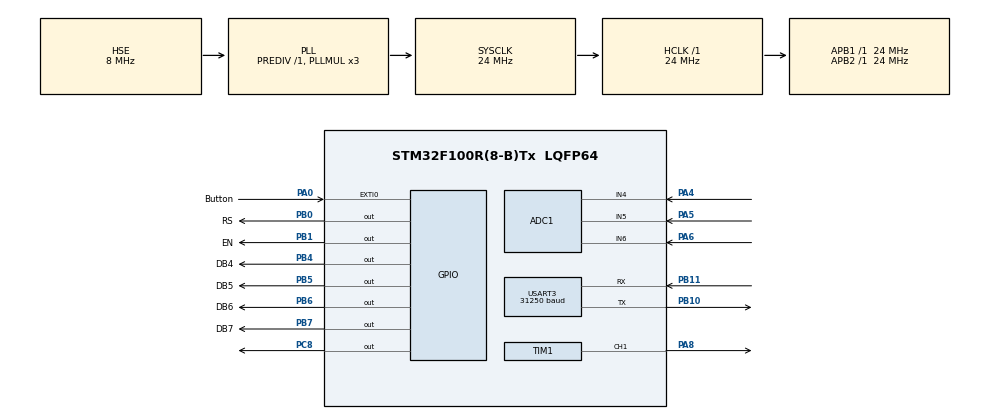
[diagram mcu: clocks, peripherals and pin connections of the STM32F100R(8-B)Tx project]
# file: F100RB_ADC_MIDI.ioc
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ADC1.Channel-0\#ChannelRegularConversion=ADC_CHANNEL_4
ADC1.Channel-1\#ChannelRegularConversion=ADC_CHANNEL_5
ADC1.Channel-2\#ChannelRegularConversion=ADC_CHANNEL_6
ADC1.ContinuousConvMode=ENABLE
ADC1.DataAlign=ADC_DATAALIGN_RIGHT
ADC1.DiscontinuousConvMode=DISABLE
ADC1.EnableAnalogWatchDog=false
ADC1.EnableRegularConversion=ENABLE
ADC1.ExternalTrigConv=ADC_EXTERNALTRIGCONV_T3_TRGO
ADC1.InjNumberOfConversion=0
ADC1.NbrOfConversion=3
ADC1.NbrOfConversionFlag=1
ADC1.Rank-0\#ChannelRegularConversion=1
ADC1.Rank-1\#ChannelRegularConversion=2
ADC1.Rank-2\#ChannelRegularConversion=3
ADC1.SamplingTime-0\#ChannelRegularConversion=ADC_SAMPLETIME_1CYCLE_5
ADC1.SamplingTime-1\#ChannelRegularConversion=ADC_SAMPLETIME_1CYCLE_5
ADC1.SamplingTime-2\#ChannelRegularConversion=ADC_SAMPLETIME_1CYCLE_5
ADC1.ScanConvMode=ADC_SCAN_ENABLE
ADC1.master=1
Dma.ADC1.0.Direction=DMA_PERIPH_TO_MEMORY
Dma.ADC1.0.Instance=DMA1_Channel1
Dma.ADC1.0.MemDataAlignment=DMA_MDATAALIGN_HALFWORD
Dma.ADC1.0.MemInc=DMA_MINC_ENABLE
Dma.ADC1.0.Mode=DMA_CIRCULAR
Dma.ADC1.0.PeriphDataAlignment=DMA_PDATAALIGN_HALFWORD
Dma.ADC1.0.PeriphInc=DMA_PINC_DISABLE
Dma.ADC1.0.Priority=DMA_PRIORITY_MEDIUM
Dma.Request0=ADC1
Dma.Request1=USART3_RX
Dma.USART3_RX.1.Direction=DMA_PERIPH_TO_MEMORY
Dma.USART3_RX.1.Instance=DMA1_Channel3
Dma.USART3_RX.1.MemDataAlignment=DMA_MDATAALIGN_BYTE
Dma.USART3_RX.1.MemInc=DMA_MINC_ENABLE
Dma.USART3_RX.1.Mode=DMA_CIRCULAR
Dma.USART3_RX.1.PeriphDataAlignment=DMA_PDATAALIGN_BYTE
Dma.USART3_RX.1.PeriphInc=DMA_PINC_DISABLE
Dma.USART3_RX.1.Priority=DMA_PRIORITY_MEDIUM
Mcu.Family=STM32F1
Mcu.Name=STM32F100R(8-B)Tx
Mcu.Package=LQFP64
NVIC.DMA1_Channel1_IRQn=true\:0\:0\:false\:false\:true\:false
NVIC.DMA1_Channel3_IRQn=true\:0\:0\:false\:false\:true\:false
NVIC.EXTI0_IRQn=true\:0\:0\:false\:false\:true\:true
NVIC.PriorityGroup=NVIC_PRIORITYGROUP_4
NVIC.TIM3_IRQn=true\:0\:0\:true\:false\:true\:true
NVIC.USART3_IRQn=true\:0\:0\:false\:false\:true\:true
PA0-WKUP.GPIO_Label=Button
PA0-WKUP.GPIO_ModeDefaultEXTI=GPIO_MODE_IT_RISING
PA0-WKUP.GPIO_PuPd=GPIO_PULLDOWN
PA0-WKUP.Signal=GPXTI0
PA13.Mode=Serial_Wire
PA13.Signal=SYS_JTMS-SWDIO
PA14.Mode=Serial_Wire
PA14.Signal=SYS_JTCK-SWCLK
PA4.Signal=ADCx_IN4
PA5.Signal=ADCx_IN5
PA6.Signal=ADCx_IN6
PA8.Signal=S_TIM1_CH1
PB0.GPIO_Label=RS
PB0.Signal=GPIO_Output
PB1.GPIO_Label=EN
PB1.Signal=GPIO_Output
PB10.Mode=Asynchronous
PB10.Signal=USART3_TX
PB11.Mode=Asynchronous
PB11.Signal=USART3_RX
PB4.GPIO_Label=DB4
PB4.Signal=GPIO_Output
PB5.GPIO_Label=DB5
PB5.Signal=GPIO_Output
PB6.GPIO_Label=DB6
PB6.Signal=GPIO_Output
PB7.GPIO_Label=DB7
PB7.Signal=GPIO_Output
PC8.Signal=GPIO_Output
PD0-OSC_IN.Mode=HSE-External-Oscillator
PD0-OSC_IN.Signal=RCC_OSC_IN
PD1-OSC_OUT.Mode=HSE-External-Oscillator
PD1-OSC_OUT.Signal=RCC_OSC_OUT
ProjectManager.HeapSize=0x200
ProjectManager.StackSize=0x400
ProjectManager.TargetToolchain=MDK-ARM V5
RCC.AHBFreq_Value=24000000
RCC.APB1Freq_Value=24000000
RCC.APB1TimFreq_Value=24000000
RCC.APB2Freq_Value=24000000
RCC.APB2TimFreq_Value=24000000
RCC.HCLKFreq_Value=24000000
RCC.PLLMUL=RCC_PLL_MUL3
RCC.PLLSource=RCC_PLLSOURCE_HSE
RCC.SYSCLKFreq_VALUE=24000000
RCC.SYSCLKSource=RCC_SYSCLKSOURCE_PLLCLK
SH.ADCx_IN4.0=ADC1_IN4,IN4
SH.ADCx_IN5.0=ADC1_IN5,IN5
SH.ADCx_IN6.0=ADC1_IN6,IN6
SH.S_TIM1_CH1.0=TIM1_CH1,PWM Generation1 CH1
TIM1.Channel-PWM\ Generation1\ CH1=TIM_CHANNEL_1
TIM1.Period=65535
TIM3.Period=50
TIM3.Prescaler=23999
TIM3.TIM_MasterOutputTrigger=TIM_TRGO_UPDATE
USART3.BaudRate=31250
USART3.Mode=MODE_TX_RX
USART3.VirtualMode=VM_ASYNC
VP_TIM1_VS_ClockSourceINT.Mode=Internal
VP_TIM3_VS_ClockSourceINT.Mode=Internal
board=F100RB_ADC_v4.0

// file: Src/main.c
/**
  ******************************************************************************
  * @file           : main.c
  * @brief          : Main program body
  ******************************************************************************
  ** This notice applies to any and all portions of this file
  * that are not between comment pairs USER CODE BEGIN and
  * USER CODE END. Other portions of this file, whether
  * inserted by the user or by software development tools
  * are owned by their respective copyright owners.
  *
  * COPYRIGHT(c) 2018 STMicroelectronics
  *
  * Redistribution and use in source and binary forms, with or without modification,
  * are permitted provided that the following conditions are met:
  *   1. Redistributions of source code must retain the above copyright notice,
  *      this list of conditions and the following disclaimer.
  *   2. Redistributions in binary form must reproduce the above copyright notice,
  *      this list of conditions and the following disclaimer in the documentation
  *      and/or other materials provided with the distribution.
  *   3. Neither the name of STMicroelectronics nor the names of its contributors
  *      may be used to endorse or promote products derived from this software
  *      without specific prior written permission.
  *
  * THIS SOFTWARE IS PROVIDED BY THE COPYRIGHT HOLDERS AND CONTRIBUTORS "AS IS"
  * AND ANY EXPRESS OR IMPLIED WARRANTIES, INCLUDING, BUT NOT LIMITED TO, THE
  * IMPLIED WARRANTIES OF MERCHANTABILITY AND FITNESS FOR A PARTICULAR PURPOSE ARE
  * DISCLAIMED. IN NO EVENT SHALL THE COPYRIGHT HOLDER OR CONTRIBUTORS BE LIABLE
  * FOR ANY DIRECT, INDIRECT, INCIDENTAL, SPECIAL, EXEMPLARY, OR CONSEQUENTIAL
  * DAMAGES (INCLUDING, BUT NOT LIMITED TO, PROCUREMENT OF SUBSTITUTE GOODS OR
  * SERVICES; LOSS OF USE, DATA, OR PROFITS; OR BUSINESS INTERRUPTION) HOWEVER
  * CAUSED AND ON ANY THEORY OF LIABILITY, WHETHER IN CONTRACT, STRICT LIABILITY,
  * OR TORT (INCLUDING NEGLIGENCE OR OTHERWISE) ARISING IN ANY WAY OUT OF THE USE
  * OF THIS SOFTWARE, EVEN IF ADVISED OF THE POSSIBILITY OF SUCH DAMAGE.
  *
  ******************************************************************************
  */
#include "main.h"
#include "stm32f1xx_hal.h"

/* USER CODE BEGIN Includes */
#include "lcd.h"
#include "stdbool.h"
#include "stdio.h"
#include "string.h"
/* USER CODE END Includes */

ADC_HandleTypeDef hadc1;
DMA_HandleTypeDef hdma_adc1;

TIM_HandleTypeDef htim1;
TIM_HandleTypeDef htim3;

UART_HandleTypeDef huart3;
DMA_HandleTypeDef hdma_usart3_rx;

/* USER CODE BEGIN PV */
/* Private variables ---------------------------------------------------------*/
const static uint32_t note_frequency[] = {45865, 43290, 40590, 38570, 36403, 34360,
																					32432, 30612, 28902, 27273, 25742, 24295, 22932,
																					21647, 20294, 19285, 18203, 17180, 16216, 15306, 14493,
																					13636, 12871, 12148, 11467, 10823, 10216, 9642,
																					9101, 8590, 8108, 7653, 7224, 6818, 6436, 6074};
uint8_t x = 0;
char str[8] = {0};
static char midi[6] = {0};
static char prevStatusByte[1] = {0};
char note[1] = {0};
char velocity[1] = {0};
char noteon[1] = {0};
char noteoff[1] = {0};
char print[8] = {0};
bool b;
uint16_t ADC_Data[3];
uint16_t f;
uint8_t i;
uint16_t t_on;
uint16_t t_off;
uint16_t step_on = 0;
uint16_t step_off = 0;
/* USER CODE END PV */

void SystemClock_Config(void);
static void MX_GPIO_Init(void);
static void MX_DMA_Init(void);
static void MX_TIM1_Init(void);
static void MX_ADC1_Init(void);
static void MX_TIM3_Init(void);
static void MX_USART3_UART_Init(void);

void HAL_TIM_MspPostInit(TIM_HandleTypeDef *htim);

/* USER CODE BEGIN PFP */
/* Private function prototypes -----------------------------------------------*/

/* USER CODE END PFP */

int main(void)
{

  /* MCU Configuration----------------------------------------------------------*/

  /* Reset of all peripherals, Initializes the Flash interface and the Systick. */
  HAL_Init();

  /* Configure the system clock */
  SystemClock_Config();

  /* Initialize all configured peripherals */
  MX_GPIO_Init();
  MX_DMA_Init();
  MX_TIM1_Init();
  MX_ADC1_Init();
  MX_TIM3_Init();
  MX_USART3_UART_Init();
  /* USER CODE BEGIN 2 */

	InitializeLCD();
	ClearLCDScreen();
	delay(32000);
	delay(32000);
	delay(32000);
	Cursor(0,3);
	PrintStr("Ready for work");
	Cursor(2,8);
	PrintStr("(c)POSPEL");

  /* USER CODE END 2 */

  /* Infinite loop */
	while(1)
	{

  /* USER CODE BEGIN 3 */
		if (b == true)
		{
			HAL_UART_Receive_DMA(&huart3, (uint8_t*) midi, 3);
			Cursor(0,3);
			PrintStr("Operating mode");
			Cursor(1,9);
			PrintStr("MIDI");
			static char newNote = 0x00;

			if((midi[0]&0xF0)==0x80 || (midi[0]&0xF0)==0x90)
			{
				sprintf(prevStatusByte,"%3d",midi[0]);
				Cursor(2,0);
				PrintMassiv(prevStatusByte);
				sprintf(note,"%3d",midi[1]);
				Cursor(2,3);
				PrintMassiv(note);
				sprintf(velocity,"%3d",midi[2]);
				Cursor(2,8);
				PrintMassiv(velocity);
			}
/********************************************************************************

0x9n --- Комманда - включить ноту

*********************************************************************************/
			if ((midi[0]&0xF0) == 144)
			{
				newNote = midi[1];
				myVelocity = midi[2];
				if (myVelocity == 0)
				{
					if (myNote == newNote)
					{
						myNote = 0xFF;
						//sprintf(noteon,"%3dms",myNote);
						//Cursor(1,0);
						//PrintMassiv(noteon);
						midiPlay();
					}
				}
				else
				{
					myNote = newNote;
					//sprintf(noteon,"%3d",myNote);
					//Cursor(1,3);
					//PrintMassiv(noteon);
					midiPlay();
				}
			}
/********************************************************************************

0x8n --- Комманда - выключить ноту

*********************************************************************************/
			if ((midi[0]&0xF0) == 128)
			{
				myNote = 0xFF;
				//sprintf(noteoff,"%3d",midi[1]);
				//Cursor(1,0);
				//PrintMassiv(noteoff);
				midiPlay();
			}
/********************************************************************************

0xFF --- Системное сообщени - сброс всех устройств

*********************************************************************************/
			if ((midi[0]&0xFF) == 0xFF)
			{
				myNote = 0xFF;
				midiPlay();
			}
		}
	}
  /* USER CODE END 3 */

}

void SystemClock_Config(void)
{

  RCC_OscInitTypeDef RCC_OscInitStruct;
  RCC_ClkInitTypeDef RCC_ClkInitStruct;
  RCC_PeriphCLKInitTypeDef PeriphClkInit;

    /**Initializes the CPU, AHB and APB busses clocks
    */
  RCC_OscInitStruct.OscillatorType = RCC_OSCILLATORTYPE_HSE;
  RCC_OscInitStruct.HSEState = RCC_HSE_ON;
  RCC_OscInitStruct.HSEPredivValue = RCC_HSE_PREDIV_DIV1;
  RCC_OscInitStruct.PLL.PLLState = RCC_PLL_ON;
  RCC_OscInitStruct.PLL.PLLSource = RCC_PLLSOURCE_HSE;
  RCC_OscInitStruct.PLL.PLLMUL = RCC_PLL_MUL3;
  if (HAL_RCC_OscConfig(&RCC_OscInitStruct) != HAL_OK)
  {
    _Error_Handler(__FILE__, __LINE__);
  }

    /**Initializes the CPU, AHB and APB busses clocks
    */
  RCC_ClkInitStruct.ClockType = RCC_CLOCKTYPE_HCLK|RCC_CLOCKTYPE_SYSCLK
                              |RCC_CLOCKTYPE_PCLK1|RCC_CLOCKTYPE_PCLK2;
  RCC_ClkInitStruct.SYSCLKSource = RCC_SYSCLKSOURCE_PLLCLK;
  RCC_ClkInitStruct.AHBCLKDivider = RCC_SYSCLK_DIV1;
  RCC_ClkInitStruct.APB1CLKDivider = RCC_HCLK_DIV1;
  RCC_ClkInitStruct.APB2CLKDivider = RCC_HCLK_DIV1;

  if (HAL_RCC_ClockConfig(&RCC_ClkInitStruct, FLASH_LATENCY_0) != HAL_OK)
  {
    _Error_Handler(__FILE__, __LINE__);
  }

  PeriphClkInit.PeriphClockSelection = RCC_PERIPHCLK_ADC;
  PeriphClkInit.AdcClockSelection = RCC_ADCPCLK2_DIV2;
  if (HAL_RCCEx_PeriphCLKConfig(&PeriphClkInit) != HAL_OK)
  {
    _Error_Handler(__FILE__, __LINE__);
  }

    /**Configure the Systick interrupt time
    */
  HAL_SYSTICK_Config(HAL_RCC_GetHCLKFreq()/1000);

    /**Configure the Systick
    */
  HAL_SYSTICK_CLKSourceConfig(SYSTICK_CLKSOURCE_HCLK);

  /* SysTick_IRQn interrupt configuration */
  HAL_NVIC_SetPriority(SysTick_IRQn, 0, 0);
}

/* ADC1 init function */
static void MX_ADC1_Init(void)
{

  ADC_ChannelConfTypeDef sConfig;

    /**Common config
    */
  hadc1.Instance = ADC1;
  hadc1.Init.ScanConvMode = ADC_SCAN_ENABLE;
  hadc1.Init.ContinuousConvMode = ENABLE;
  hadc1.Init.DiscontinuousConvMode = DISABLE;
  hadc1.Init.ExternalTrigConv = ADC_EXTERNALTRIGCONV_T3_TRGO;
  hadc1.Init.DataAlign = ADC_DATAALIGN_RIGHT;
  hadc1.Init.NbrOfConversion = 3;
  if (HAL_ADC_Init(&hadc1) != HAL_OK)
  {
    _Error_Handler(__FILE__, __LINE__);
  }

    /**Configure Regular Channel
    */
  sConfig.Channel = ADC_CHANNEL_4;
  sConfig.Rank = ADC_REGULAR_RANK_1;
  sConfig.SamplingTime = ADC_SAMPLETIME_1CYCLE_5;
  if (HAL_ADC_ConfigChannel(&hadc1, &sConfig) != HAL_OK)
  {
    _Error_Handler(__FILE__, __LINE__);
  }

    /**Configure Regular Channel
    */
  sConfig.Channel = ADC_CHANNEL_5;
  sConfig.Rank = ADC_REGULAR_RANK_2;
  if (HAL_ADC_ConfigChannel(&hadc1, &sConfig) != HAL_OK)
  {
    _Error_Handler(__FILE__, __LINE__);
  }

    /**Configure Regular Channel
    */
  sConfig.Channel = ADC_CHANNEL_6;
  sConfig.Rank = ADC_REGULAR_RANK_3;
  if (HAL_ADC_ConfigChannel(&hadc1, &sConfig) != HAL_OK)
  {
    _Error_Handler(__FILE__, __LINE__);
  }

}

/* TIM1 init function */
static void MX_TIM1_Init(void)
{

  TIM_ClockConfigTypeDef sClockSourceConfig;
  TIM_MasterConfigTypeDef sMasterConfig;
  TIM_OC_InitTypeDef sConfigOC;
  TIM_BreakDeadTimeConfigTypeDef sBreakDeadTimeConfig;

  htim1.Instance = TIM1;
  htim1.Init.Prescaler = 0;
  htim1.Init.CounterMode = TIM_COUNTERMODE_UP;
  htim1.Init.Period = 65535;
  htim1.Init.ClockDivision = TIM_CLOCKDIVISION_DIV1;
  htim1.Init.RepetitionCounter = 0;
  htim1.Init.AutoReloadPreload = TIM_AUTORELOAD_PRELOAD_DISABLE;
  if (HAL_TIM_Base_Init(&htim1) != HAL_OK)
  {
    _Error_Handler(__FILE__, __LINE__);
  }

  sClockSourceConfig.ClockSource = TIM_CLOCKSOURCE_INTERNAL;
  if (HAL_TIM_ConfigClockSource(&htim1, &sClockSourceConfig) != HAL_OK)
  {
    _Error_Handler(__FILE__, __LINE__);
  }

  if (HAL_TIM_PWM_Init(&htim1) != HAL_OK)
  {
    _Error_Handler(__FILE__, __LINE__);
  }

  sMasterConfig.MasterOutputTrigger = TIM_TRGO_RESET;
  sMasterConfig.MasterSlaveMode = TIM_MASTERSLAVEMODE_DISABLE;
  if (HAL_TIMEx_MasterConfigSynchronization(&htim1, &sMasterConfig) != HAL_OK)
  {
    _Error_Handler(__FILE__, __LINE__);
  }

  sConfigOC.OCMode = TIM_OCMODE_PWM1;
  sConfigOC.Pulse = 0;
  sConfigOC.OCPolarity = TIM_OCPOLARITY_HIGH;
  sConfigOC.OCNPolarity = TIM_OCNPOLARITY_HIGH;
  sConfigOC.OCFastMode = TIM_OCFAST_DISABLE;
  sConfigOC.OCIdleState = TIM_OCIDLESTATE_RESET;
  sConfigOC.OCNIdleState = TIM_OCNIDLESTATE_RESET;
  if (HAL_TIM_PWM_ConfigChannel(&htim1, &sConfigOC, TIM_CHANNEL_1) != HAL_OK)
  {
    _Error_Handler(__FILE__, __LINE__);
  }

  sBreakDeadTimeConfig.OffStateRunMode = TIM_OSSR_DISABLE;
  sBreakDeadTimeConfig.OffStateIDLEMode = TIM_OSSI_DISABLE;
  sBreakDeadTimeConfig.LockLevel = TIM_LOCKLEVEL_OFF;
  sBreakDeadTimeConfig.DeadTime = 0;
  sBreakDeadTimeConfig.BreakState = TIM_BREAK_DISABLE;
  sBreakDeadTimeConfig.BreakPolarity = TIM_BREAKPOLARITY_HIGH;
  sBreakDeadTimeConfig.AutomaticOutput = TIM_AUTOMATICOUTPUT_DISABLE;
  if (HAL_TIMEx_ConfigBreakDeadTime(&htim1, &sBreakDeadTimeConfig) != HAL_OK)
  {
    _Error_Handler(__FILE__, __LINE__);
  }

  HAL_TIM_MspPostInit(&htim1);

}

/* TIM3 init function */
static void MX_TIM3_Init(void)
{

  TIM_ClockConfigTypeDef sClockSourceConfig;
  TIM_MasterConfigTypeDef sMasterConfig;

  htim3.Instance = TIM3;
  htim3.Init.Prescaler = 23999;
  htim3.Init.CounterMode = TIM_COUNTERMODE_UP;
  htim3.Init.Period = 50;
  htim3.Init.ClockDivision = TIM_CLOCKDIVISION_DIV1;
  htim3.Init.AutoReloadPreload = TIM_AUTORELOAD_PRELOAD_DISABLE;
  if (HAL_TIM_Base_Init(&htim3) != HAL_OK)
  {
    _Error_Handler(__FILE__, __LINE__);
  }

  sClockSourceConfig.ClockSource = TIM_CLOCKSOURCE_INTERNAL;
  if (HAL_TIM_ConfigClockSource(&htim3, &sClockSourceConfig) != HAL_OK)
  {
    _Error_Handler(__FILE__, __LINE__);
  }

  sMasterConfig.MasterOutputTrigger = TIM_TRGO_UPDATE;
  sMasterConfig.MasterSlaveMode = TIM_MASTERSLAVEMODE_DISABLE;
  if (HAL_TIMEx_MasterConfigSynchronization(&htim3, &sMasterConfig) != HAL_OK)
  {
    _Error_Handler(__FILE__, __LINE__);
  }

}

/* USART3 init function */
static void MX_USART3_UART_Init(void)
{

  huart3.Instance = USART3;
  huart3.Init.BaudRate = 31250;
  huart3.Init.WordLength = UART_WORDLENGTH_8B;
  huart3.Init.StopBits = UART_STOPBITS_1;
  huart3.Init.Parity = UART_PARITY_NONE;
  huart3.Init.Mode = UART_MODE_TX_RX;
  huart3.Init.HwFlowCtl = UART_HWCONTROL_NONE;
  huart3.Init.OverSampling = UART_OVERSAMPLING_16;
  if (HAL_UART_Init(&huart3) != HAL_OK)
  {
    _Error_Handler(__FILE__, __LINE__);
  }

}

static void MX_DMA_Init(void)
{
  /* DMA controller clock enable */
  __HAL_RCC_DMA1_CLK_ENABLE();

  /* DMA interrupt init */
  /* DMA1_Channel1_IRQn interrupt configuration */
  HAL_NVIC_SetPriority(DMA1_Channel1_IRQn, 0, 0);
  HAL_NVIC_EnableIRQ(DMA1_Channel1_IRQn);
  /* DMA1_Channel3_IRQn interrupt configuration */
  HAL_NVIC_SetPriority(DMA1_Channel3_IRQn, 0, 0);
  HAL_NVIC_EnableIRQ(DMA1_Channel3_IRQn);

}

/** Configure pins as
        * Analog
        * Input
        * Output
        * EVENT_OUT
        * EXTI
*/
static void MX_GPIO_Init(void)
{

  GPIO_InitTypeDef GPIO_InitStruct;

  /* GPIO Ports Clock Enable */
  __HAL_RCC_GPIOD_CLK_ENABLE();
  __HAL_RCC_GPIOA_CLK_ENABLE();
  __HAL_RCC_GPIOB_CLK_ENABLE();
  __HAL_RCC_GPIOC_CLK_ENABLE();

  /*Configure GPIO pin Output Level */
  HAL_GPIO_WritePin(GPIOB, RS_Pin|EN_Pin|DB4_Pin|DB5_Pin
                          |DB6_Pin|DB7_Pin, GPIO_PIN_RESET);

  /*Configure GPIO pin Output Level */
  HAL_GPIO_WritePin(GPIOC, GPIO_PIN_8, GPIO_PIN_RESET);

  /*Configure GPIO pin : Button_Pin */
  GPIO_InitStruct.Pin = Button_Pin;
  GPIO_InitStruct.Mode = GPIO_MODE_IT_RISING;
  GPIO_InitStruct.Pull = GPIO_PULLDOWN;
  HAL_GPIO_Init(Button_GPIO_Port, &GPIO_InitStruct);

  /*Configure GPIO pins : RS_Pin EN_Pin DB4_Pin DB5_Pin
                           DB6_Pin DB7_Pin */
  GPIO_InitStruct.Pin = RS_Pin|EN_Pin|DB4_Pin|DB5_Pin
                          |DB6_Pin|DB7_Pin;
  GPIO_InitStruct.Mode = GPIO_MODE_OUTPUT_PP;
  GPIO_InitStruct.Speed = GPIO_SPEED_FREQ_LOW;
  HAL_GPIO_Init(GPIOB, &GPIO_InitStruct);

  /*Configure GPIO pin : PC8 */
  GPIO_InitStruct.Pin = GPIO_PIN_8;
  GPIO_InitStruct.Mode = GPIO_MODE_OUTPUT_PP;
  GPIO_InitStruct.Speed = GPIO_SPEED_FREQ_LOW;
  HAL_GPIO_Init(GPIOC, &GPIO_InitStruct);

  /* EXTI interrupt init*/
  HAL_NVIC_SetPriority(EXTI0_IRQn, 0, 0);
  HAL_NVIC_EnableIRQ(EXTI0_IRQn);

}

/* USER CODE BEGIN 4 */
void HAL_GPIO_EXTI_Callback(uint16_t GPIO_Pin)
{
	delay(32000);
	if(HAL_GPIO_ReadPin(Button_GPIO_Port,Button_Pin))
		{
			delay(32000);
			ClearLCDScreen();
			delay(32000);
			x++;
		}
		switch(x)

		{
			case 1:

			HAL_TIM_Base_Start_IT(&htim3);
			HAL_ADC_Start_DMA(&hadc1,(uint32_t*)&ADC_Data, 3);
			b = false;
			delay(32000);
			Cursor(0,3);
			PrintStr("Operating mode");
			Cursor(2,9);
			PrintStr("Off");

			break;

			case 4:

			HAL_TIM_Base_Stop_IT(&htim3);
			HAL_TIM_PWM_Stop(&htim1, TIM_CHANNEL_1);
			HAL_ADC_Stop_DMA(&hadc1);
			b = true;
			x = 0;

		}
}
void HAL_TIM_PeriodElapsedCallback(TIM_HandleTypeDef *htim3)
{
	if(x==2)
	{
		HAL_TIM_PWM_Start(&htim1, TIM_CHANNEL_1);
		Cursor(0,3);
		PrintStr("Operating mode");
		Cursor(1,4);
		PrintStr("Permanently");
		Cursor(2,0);
		PrintStr("f=");
		f = ADC_Data[0]*27/4096;
		sprintf(str,"%02dkHz",f);
		Cursor(2,2);
		PrintMassiv(str);
		TIM1->PSC = 399;
		TIM1->ARR = 8192/ADC_Data[0];
		TIM1->CCR1 = 4096/ADC_Data[0];
		HAL_GPIO_TogglePin(GPIOC, GPIO_PIN_8);
	}
	if(x==3)
	{
		Cursor(0,3);
		PrintStr("Uninterruptedly");
		Cursor(1,0);
		PrintStr("f=");
		f = ADC_Data[0]*27/4096;
		sprintf(str,"%02dkHz",f);
		Cursor(1,2);
		PrintMassiv(str);
		TIM1->PSC = 399;
		TIM1->ARR = 8192/ADC_Data[0];
		TIM1->CCR1 = 4096/ADC_Data[0];
		t_on = ADC_Data[1]/2;
		t_off = ADC_Data[2]/2;
		Cursor(2,3);
		PrintStr("ton =");
		sprintf(str,"%04dms",t_on);
		Cursor(2,8);
		PrintMassiv(str);
		Cursor(3,3);
		PrintStr("toff=");
		sprintf(str,"%04dms",t_off);
		Cursor(3,8);
		PrintMassiv(str);
		if (step_on == 0)
		{
			if (step_off == 0)
			{
				step_on = ADC_Data[1]/100;
				step_off = ADC_Data[2]/100;
				HAL_TIM_PWM_Start(&htim1, TIM_CHANNEL_1);
			}
			step_off--;
		}
		else
		{
			step_on--;
			if (step_on == 0)
				HAL_TIM_PWM_Stop(&htim1, TIM_CHANNEL_1);
		}
		HAL_GPIO_TogglePin(GPIOC, GPIO_PIN_8);
	}
}
void midiPlay(void)
{
	if ((myNote&0xFF) == 0xFF)
	{
		HAL_TIM_PWM_Stop(&htim1, TIM_CHANNEL_1);
	}
	if ((myNote >= 36)&&(myNote < 72))
	{
		TIM1->PSC = 7;
		TIM1->ARR = note_frequency[myNote - 36];
		TIM1->CCR1 = note_frequency[myNote - 36]/2;
		HAL_TIM_PWM_Start(&htim1, TIM_CHANNEL_1);
		sprintf(print, "%05d", note_frequency[myNote - 36]);
		Cursor(3,0);
		PrintMassiv(print);
	}
}
/* USER CODE END 4 */

void _Error_Handler(char *file, int line)
{
  while(1)
  {
  }
}

/************************ (C) COPYRIGHT STMicroelectronics *****END OF FILE****/
